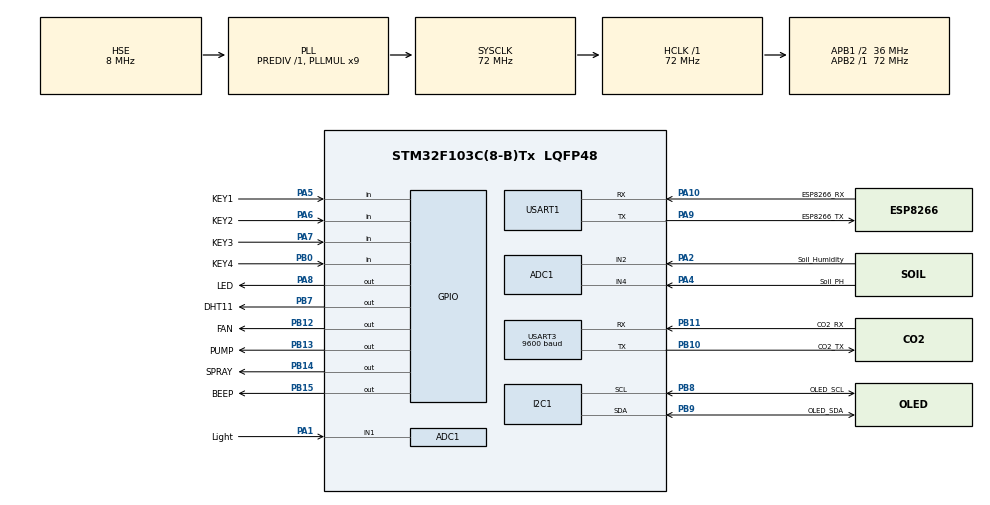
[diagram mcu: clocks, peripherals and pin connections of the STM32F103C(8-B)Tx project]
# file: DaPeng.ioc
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ADC1.Channel-3\#ChannelRegularConversion=ADC_CHANNEL_1
ADC1.ContinuousConvMode=DISABLE
ADC1.EnableRegularConversion=ENABLE
ADC1.NbrOfConversion=1
ADC1.NbrOfConversionFlag=1
ADC1.Rank-3\#ChannelRegularConversion=1
ADC1.SamplingTime-3\#ChannelRegularConversion=ADC_SAMPLETIME_55CYCLES_5
ADC1.master=1
I2C1.I2C_Mode=I2C_Fast
Mcu.Family=STM32F1
Mcu.Name=STM32F103C(8-B)Tx
Mcu.Package=LQFP48
NVIC.PriorityGroup=NVIC_PRIORITYGROUP_4
NVIC.TIM4_IRQn=true\:13\:0\:true\:false\:true\:true\:true\:true
NVIC.USART1_IRQn=true\:14\:0\:true\:false\:true\:true\:true\:true
NVIC.USART3_IRQn=true\:15\:0\:true\:false\:true\:true\:true\:true
PA1.GPIO_Label=Light
PA1.GPIO_Mode=GPIO_MODE_ANALOG
PA1.Signal=ADCx_IN1
PA10.GPIO_Label=ESP8266_RX
PA10.Mode=Asynchronous
PA10.Signal=USART1_RX
PA13.Mode=Serial_Wire
PA13.Signal=SYS_JTMS-SWDIO
PA14.Mode=Serial_Wire
PA14.Signal=SYS_JTCK-SWCLK
PA2.GPIO_Label=Soil_Humidity
PA2.Signal=ADCx_IN2
PA4.GPIO_Label=Soil_PH
PA4.Signal=ADCx_IN4
PA5.GPIO_Label=KEY1
PA5.GPIO_PuPd=GPIO_PULLUP
PA5.Signal=GPIO_Input
PA6.GPIO_Label=KEY2
PA6.GPIO_PuPd=GPIO_PULLUP
PA6.Signal=GPIO_Input
PA7.GPIO_Label=KEY3
PA7.GPIO_PuPd=GPIO_PULLUP
PA7.Signal=GPIO_Input
PA8.GPIO_Label=LED
PA8.PinState=GPIO_PIN_RESET
PA8.Signal=GPIO_Output
PA9.GPIO_Label=ESP8266_TX
PA9.Mode=Asynchronous
PA9.Signal=USART1_TX
PB0.GPIO_Label=KEY4
PB0.GPIO_PuPd=GPIO_PULLUP
PB0.Signal=GPIO_Input
PB10.GPIO_Label=CO2_TX
PB10.Mode=Asynchronous
PB10.Signal=USART3_TX
PB11.GPIO_Label=CO2_RX
PB11.Mode=Asynchronous
PB11.Signal=USART3_RX
PB12.GPIO_Label=FAN
PB12.PinState=GPIO_PIN_RESET
PB12.Signal=GPIO_Output
PB13.GPIO_Label=PUMP
PB13.Signal=GPIO_Output
PB14.GPIO_Label=SPRAY
PB14.PinState=GPIO_PIN_RESET
PB14.Signal=GPIO_Output
PB15.GPIO_Label=BEEP
PB15.PinState=GPIO_PIN_RESET
PB15.Signal=GPIO_Output
PB7.GPIO_Label=DHT11
PB7.GPIO_ModeDefaultOutputPP=GPIO_MODE_OUTPUT_OD
PB7.GPIO_PuPd=GPIO_PULLUP
PB7.GPIO_Speed=GPIO_SPEED_FREQ_HIGH
PB7.PinState=GPIO_PIN_SET
PB7.Signal=GPIO_Output
PB8.GPIO_Label=OLED_SCL
PB8.Mode=I2C
PB8.Signal=I2C1_SCL
PB9.GPIO_Label=OLED_SDA
PB9.Mode=I2C
PB9.Signal=I2C1_SDA
PD0-OSC_IN.Mode=HSE-External-Oscillator
PD0-OSC_IN.Signal=RCC_OSC_IN
PD1-OSC_OUT.Mode=HSE-External-Oscillator
PD1-OSC_OUT.Signal=RCC_OSC_OUT
ProjectManager.HeapSize=0x400
ProjectManager.StackSize=0x600
ProjectManager.TargetToolchain=MDK-ARM V5
RCC.ADCPresc=RCC_ADCPCLK2_DIV6
RCC.AHBFreq_Value=72000000
RCC.APB1CLKDivider=RCC_HCLK_DIV2
RCC.APB1Freq_Value=36000000
RCC.APB1TimFreq_Value=72000000
RCC.APB2Freq_Value=72000000
RCC.APB2TimFreq_Value=72000000
RCC.HCLKFreq_Value=72000000
RCC.PLLMUL=RCC_PLL_MUL9
RCC.PLLSourceVirtual=RCC_PLLSOURCE_HSE
RCC.SYSCLKFreq_VALUE=72000000
RCC.SYSCLKSource=RCC_SYSCLKSOURCE_PLLCLK
RCC.USBFreq_Value=72000000
SH.ADCx_IN1.0=ADC1_IN1,IN1
SH.ADCx_IN2.0=ADC1_IN2,IN2
SH.ADCx_IN4.0=ADC1_IN4,IN4
TIM4.Period=1000-1
TIM4.Prescaler=72-1
USART1.VirtualMode=VM_ASYNC
USART3.BaudRate=9600
USART3.VirtualMode=VM_ASYNC
VP_TIM4_VS_ClockSourceINT.Mode=Internal
board=custom

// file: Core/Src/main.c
/* USER CODE BEGIN Header */
/**
  ******************************************************************************
  * @file           : main.c
  * @brief          : Main program body
  ******************************************************************************
  * @attention
  *
  * Copyright (c) 2026 STMicroelectronics.
  * All rights reserved.
  *
  * This software is licensed under terms that can be found in the LICENSE file
  * in the root directory of this software component.
  * If no LICENSE file comes with this software, it is provided AS-IS.
  *
  ******************************************************************************
  */
/* USER CODE END Header */
#include "main.h"
#include "adc.h"
#include "i2c.h"
#include "tim.h"
#include "usart.h"
#include "gpio.h"

/* USER CODE BEGIN Includes */
#include "oled.h"
#include "adcx.h"
#include "Light.h"
#include "dht11.h"
#include "Soil_Humidity.h"
#include "CO2.h"
#include "ph.h"
#include "esp8266.h"
#include "onenet.h"
#include "key.h"
#include "beep.h"
#include "pump.h"
#include "led.h"
#include "fan.h"
#include "spray.h"

/* USER CODE END Includes */

/* USER CODE BEGIN PTD */
uint8_t temp,humi;              // 温湿度
uint16_t lux;                   // 光照强度 0-999
uint16_t soil_humi;             // 土壤湿度 0-100
uint16_t co2_ppm;               // CO2浓度
float soil_ph;                  // 土壤PH值 0.00-14.00

uint8_t Key_Val,Key_Down,Key_Old,Key_Up;
volatile uint8_t Key_Slow_Down;         // 按键减速处理
volatile uint16_t OLED_Slow_Down;       // OLED减速处理
volatile uint32_t cloud_time = 0;              // 云平台发送数据计时

uint8_t OLED_MENU = 0;                  // 菜单 1-主菜单 2-传感器菜单 3-阈值设置 4-设备状态
uint8_t OLED_Submenu_Sensor = 0;        // 传感器子菜单 1-温湿度 2-CO2浓度 3-光照 4-土壤湿度  5-PH值
uint8_t OLED_Submenu_Threshold = 0;       // 阈值设置子菜单
uint8_t OLED_Submenu_Device = 0;          // 设备状态子菜单

uint8_t Cursor_pos = 0;         // 光标位置

uint8_t OLED_Clear_Flag = 0;   // OLED清屏标志

volatile uint8_t WifiOK_flag = 0;        // WiFi连接成功标志
volatile uint8_t cloud_flag = 0;         // 云平台发送数据标志位

// ===== 阈值参数(初始设置值）=====
int16_t  TH_Temp      = 35;    // 温度阈值(°C)
uint8_t  TH_Humi      = 25;    // 湿度阈值(%)
uint16_t TH_CO2       = 1000;   // CO2阈值(ppm)
uint16_t TH_Lux       = 800;   // 光照阈值(lx)
uint8_t  TH_SoilHumi  = 5;    // 土壤湿度阈值(%)
uint16_t TH_SoilPH_Low_x100  = 200; // 土壤PH阈值*100 下限
uint16_t TH_SoilPH_High_x100 = 1200; // 土壤PH阈值*100 上限

// ===== 自动报警状态 =====
uint8_t ALM_Temp = 0;     // 温度报警
uint8_t ALM_Humi = 0;     // 湿度报警
uint8_t ALM_CO2 = 0;      // CO2报警
uint8_t ALM_Lux = 0;      // 光照报警
uint8_t ALM_SoilHumi = 0;   // 土壤湿度报警
uint8_t ALM_SoilPH = 0;     // 土壤PH报警

// 手动/自动控制
typedef enum
{
  CTRL_AUTO = 0,
  CTRL_MANUAL_ON,
  CTRL_MANUAL_OFF
} CtrlMode_t;

volatile ControlMode_t control_mode = CONTROL_MODE_AUTO;  // 上电默认自动控制模式

//  这里用的少了，后续删
// LED 不参与阈值联动，纯手动（默认开）
uint8_t LED_ManualState = 0;
uint8_t BEEP_ManualOn = 0;   // 1=手动强制开蜂鸣器
//  这里用的少了，后续删

//  这里用的少了，后续删
// 三个会被阈值联动的外设：自动/手动共存
CtrlMode_t FAN_CtrlMode   = CTRL_AUTO;
CtrlMode_t SPRAY_CtrlMode = CTRL_AUTO;
CtrlMode_t PUMP_CtrlMode  = CTRL_AUTO;
//  这里用的少了，后续删

// ===== 阈值子菜单编辑状态 =====
uint8_t  TH_EditMode = 0;      // 0未编辑 1编辑中
int32_t  TH_EditValue = 0;     // 当前编辑值(通用整型)

volatile uint8_t led_on_state = 0;   // LED状态标志位
volatile uint8_t beep_on_state = 0;  // 蜂鸣器状态标志位
volatile uint8_t fan_on_state = 0;   // 风扇状态标志位
volatile uint8_t spray_on_state = 0; // 水雾状态标志位
volatile uint8_t pump_on_state = 0;  // 水泵状态标志位

/* USER CODE END PTD */

/* USER CODE BEGIN PD */
#define ESP8266_ONENET_INFO		"AT+CIPSTART=\"TCP\",\"mqtts.heclouds.com\",1883\r\n"

#define SENSOR_ITEM_COUNT   5    // 传感器菜单项数
#define SENSOR_ITEM_VISIBLE 3    // 传感器菜单可见项数（超过这个数会滚动）
uint8_t Sensor_Menu_Start = 0;   // 当前窗口起始项(0~2)

#define THRESH_ITEM_COUNT   7    // 阈值菜单项数
#define THRESH_ITEM_VISIBLE 3    // 阈值菜单可见项数
uint8_t Threshold_Menu_Start = 0; // 阈值菜单当前窗口起始项

#define DEVICE_ITEM_COUNT   12    // 设备状态菜单项数
#define DEVICE_ITEM_VISIBLE 3     // 设备状态菜单可见项数
uint8_t Device_Menu_Start = 0;

/* USER CODE END PD */

void SystemClock_Config(void);

/* USER CODE BEGIN 0 */
void APPInit()
{
  HAL_TIM_Base_Start_IT(&htim4);

  OLED_Init();

  ESP8266_EN();  // 启用ESP8266串口接收（中断方式）

  HAL_ADCEx_Calibration_Start(&hadc1);  // ADC校准

  CO2_UART_StartReceive();  // 启动CO2数据接收 启动后大概要等1分钟才有数据

  Boot_ChargingUI();

  ESP8266_Init();  // 初始化ESP8266并连接WiFi

  WifiOK_flag = 1;  // WiFi连接成功标志

// printf("5. ESP8266 Init OK\r\n");
	OLED_Clear(); OLED_ShowString(0,0,(uint8_t *)"ESP8266 Init OK",16, 1); OLED_Refresh();
	HAL_Delay(500);
	// // printf("Connect MQTTs Server...\r\n");
	OLED_Clear(); OLED_ShowString(0,0,(uint8_t *)"Connect MQTTs",16, 1);OLED_Refresh();
	while(ESP8266_SendCmd(ESP8266_ONENET_INFO, "OK"))
	  HAL_Delay(500);
	//	// printf("Connect MQTT Server Success\r\n");
	OLED_ShowString(0,16,(uint8_t *)"Connect Success",16, 1); OLED_Refresh();
	HAL_Delay(500);

	OLED_ShowString(0,32,(uint8_t *)"Device login",16, 1); OLED_Refresh();
	while(OneNet_DevLink())			//接入OneNET
	{
		ESP8266_SendCmd(ESP8266_ONENET_INFO, "CONNECT");
		HAL_Delay(500);
	}
	OLED_Clear(); OLED_ShowString(0,0,(uint8_t *)"Link OK",16, 1); OLED_Refresh();

	OneNET_Subscribe();		//订阅主题
	OLED_ShowString(0,16,(uint8_t *)"Subscribe OK",16, 1); OLED_Refresh();

  HAL_Delay(2000);
  DHT11_Init();   // 上电等待2s，初始化DHT11

  DHT11_Read_Data(&temp, &humi);   // 丢弃第一次数据（可能是旧值）
  HAL_Delay(2000);
  DHT11_Read_Data(&temp, &humi);   // 第二次更接近当前

	OLED_ShowString(0,32,(uint8_t *)"System Init OK",16, 1); OLED_Refresh();

  HAL_Delay(1000);
  OLED_MENU = 1;    // 默认进入主菜单
  Cursor_pos = 0;   // 初始化光标位置
  OLED_Clear();
}

// 读取阈值然后返回
static int32_t TH_GetValueBySub(uint8_t sub)
{
  switch (sub)
  {
    case 1: return TH_Temp;
    case 2: return TH_Humi;
    case 3: return TH_CO2;
    case 4: return TH_Lux;
    case 5: return TH_SoilHumi;
    case 6: return TH_SoilPH_Low_x100;
    case 7: return TH_SoilPH_High_x100;
    default: return 0;
  }
}

// 根据子菜单编号设置对应的阈值
static void TH_SetValueBySub(uint8_t sub, int32_t v)
{
  switch (sub)
  {
    case 1: TH_Temp = (int16_t)v; break;
    case 2: TH_Humi = (uint8_t)v; break;
    case 3: TH_CO2 = (uint16_t)v; break;
    case 4: TH_Lux = (uint16_t)v; break;
    case 5: TH_SoilHumi = (uint8_t)v; break;
    case 6: TH_SoilPH_Low_x100  = (uint16_t)v; break;
    case 7: TH_SoilPH_High_x100 = (uint16_t)v; break;
    default: break;
  }

}
// 返回阈值的最小值（用于编辑时的下限）
static int32_t TH_MinBySub(uint8_t sub)
{
  switch (sub)
  {
    case 1: return 0;       // 温度
    case 2: return 0;       // 湿度
    case 3: return 300;     // CO2
    case 4: return 0;       // 光照
    case 5: return 0;       // 土壤湿度
    case 6: return 0;       // pH下限 0.00
    case 7: return 700;     // pH上限 7.00

    default:return 0;
  }
}
// 返回阈值的最大值（用于编辑时的上限）
static int32_t TH_MaxBySub(uint8_t sub)
{
  switch (sub)
  {
    case 1: return 60;      // 温度
    case 2: return 100;     // 湿度
    case 3: return 1000;    // CO2
    case 4: return 999;     // 光照
    case 5: return 100;     // 土壤湿度
    case 6: return 700;     // pH下限 7.00
    case 7: return 1400;    // pH上限 14.00
    default:return 0;
  }
}
// 设置阈值的步进值
static int32_t TH_StepBySub(uint8_t sub)
{
  if (sub == 6|| sub == 7) return 5;  // pH每次0.05
  if (sub == 3) return 50; // CO2每次50
  if (sub == 4) return 10; // 光照每次10
  return 1;
}

static void AutoControl_Task(void)
{
  uint16_t ph_x100;
  uint8_t fan_need;
  uint8_t spray_need;
  uint8_t pump_need;
  uint8_t beep_need;
  uint8_t soil_alarm_for_beep;

  if (control_mode == CONTROL_MODE_MANUAL)
  {
    return;   // 手动模式下，不覆盖手动设置的标志位
  }

  ph_x100 = (uint16_t)(soil_ph * 100.0f + 0.5f);

  ALM_Temp     = (temp > TH_Temp) ? 1 : 0;  // 温度大于设定值
  ALM_CO2      = (co2_ppm > TH_CO2) ? 1 : 0;  // CO2浓度大于设定值
  ALM_Humi     = (humi < TH_Humi) ? 1 : 0;  // 湿度小于设定值
  ALM_SoilHumi = (soil_humi < TH_SoilHumi) ? 1 : 0; // 土壤湿度小于设定值
  ALM_SoilPH   = (ph_x100 < TH_SoilPH_Low_x100 || ph_x100 > TH_SoilPH_High_x100) ? 1 : 0; // 土壤PH值超出设定范围
  ALM_Lux      = (lux > TH_Lux) ? 1 : 0;  // 光照强度大于设定值

  soil_alarm_for_beep = (PUMP_CtrlMode == CTRL_AUTO) ? (ALM_SoilHumi || ALM_SoilPH) : 0;

  fan_need   = (ALM_Temp || ALM_CO2) ? 1 : 0; // 温度或CO2报警需要开风扇
  spray_need = ALM_Humi ? 1 : 0; // 湿度报警需要开水雾
  pump_need  = (ALM_SoilHumi || ALM_SoilPH) ? 1 : 0;  // 土壤湿度或PH报警需要开水泵
  beep_need  = (ALM_Temp || ALM_CO2 || ALM_Humi || ALM_Lux || soil_alarm_for_beep) ? 1 : 0; // 报警开启BEEP

  // LED 不参与自动控制，保留当前手动状态
  fan_on_state   = fan_need;
  spray_on_state = spray_need;
  pump_on_state  = pump_need;
  beep_on_state  = beep_need;

}

void Key_Task()
{
  if(Key_Slow_Down) return;
  Key_Slow_Down = 10;

  Key_Val = Key_Read();
	Key_Down = Key_Val & (Key_Old ^ Key_Val);
	Key_Up = ~Key_Val & (Key_Old ^ Key_Val);
	Key_Old = Key_Val;

  switch(Key_Down)
  {
	  case 1:	    // 上
      if(OLED_MENU==1)  // 主菜单
      {
        if(--Cursor_pos>240) Cursor_pos=2;
      }

      if(OLED_MENU==2&&OLED_Submenu_Sensor==0)  // 传感器菜单
      {
        if(--Cursor_pos>240) Cursor_pos = SENSOR_ITEM_COUNT - 1;
      }

      if (OLED_MENU == 3)  // 阈值菜单
      {
        if(OLED_Submenu_Threshold==0)
        {
          if(--Cursor_pos > 240) Cursor_pos = THRESH_ITEM_COUNT - 1;
        }
        else if (TH_EditMode)
        {
          int32_t minv = TH_MinBySub(OLED_Submenu_Threshold);
          int32_t step = TH_StepBySub(OLED_Submenu_Threshold);
          TH_EditValue -= step;
          if (TH_EditValue < minv) TH_EditValue = minv;
        }
      }

      if (OLED_MENU == 4)
      {
        if (--Cursor_pos > 240) Cursor_pos = DEVICE_ITEM_COUNT - 1;
      }

      break;

    case 2:		  // 下
      if(OLED_MENU==1)  // 主菜单
      {
        if(++Cursor_pos==3) Cursor_pos=0;
      }

      if(OLED_MENU==2&&OLED_Submenu_Sensor==0)  // 传感器菜单
      {
        if (++Cursor_pos >= SENSOR_ITEM_COUNT) Cursor_pos = 0;
      }

      if (OLED_MENU == 3)  // 阈值菜单
      {
        if(OLED_Submenu_Threshold==0)
        {
          if (++Cursor_pos >= THRESH_ITEM_COUNT) Cursor_pos = 0;
        }
        else if (TH_EditMode)
        {
          int32_t maxv = TH_MaxBySub(OLED_Submenu_Threshold);
          int32_t step = TH_StepBySub(OLED_Submenu_Threshold);
          TH_EditValue += step;
          if (TH_EditValue > maxv) TH_EditValue = maxv;
        }
      }

      if (OLED_MENU == 4)
      {
        if (++Cursor_pos >= DEVICE_ITEM_COUNT) Cursor_pos = 0;
      }

      break;

    case 3:		  // 确认
      OLED_Clear_Flag ^= 1;  // 标记需要清屏
      if(OLED_MENU==1)  // 主菜单
      {
        switch (Cursor_pos)
        {
          case 0: // 传感器菜单
            OLED_MENU = 2; Cursor_pos = 0;Sensor_Menu_Start = 0;
            break;
          case 1: // 阈值设置
            OLED_MENU = 3; Cursor_pos = 0;Threshold_Menu_Start = 0;OLED_Submenu_Threshold=0;TH_EditMode = 0;
            break;
          case 2: // 设备状态
            OLED_MENU = 4; Cursor_pos = 0;Device_Menu_Start = 0;control_mode = CONTROL_MODE_MANUAL;   // 进入设备状态切换手动控制
            break;

          default:
            break;
        }
        return;
      }

      else if(OLED_MENU==2&&OLED_Submenu_Sensor==0)  // 传感器菜单
      {
        switch (Cursor_pos)
        {
            case 0: OLED_Submenu_Sensor = 1; break;   // 温湿度
            case 1: OLED_Submenu_Sensor = 2; break;   // CO2
            case 2: OLED_Submenu_Sensor = 3; break;   // 光照
            case 3: OLED_Submenu_Sensor = 4; break;   // 土壤湿度
            case 4: OLED_Submenu_Sensor = 5; break;   // 土壤PH
            default: break;
        }
        OLED_Clear_Flag = 1;    // 切页清屏

      }

      else if (OLED_MENU == 3)
      {
        if (OLED_Submenu_Threshold == 0)
        {
          // 从阈值列表进入某个阈值详情
          OLED_Submenu_Threshold = Cursor_pos + 1;   // 1~6
          TH_EditValue = TH_GetValueBySub(OLED_Submenu_Threshold);
          TH_EditMode = 1;                           // 进入即编辑
          OLED_Clear_Flag = 1;
        }
        else
        {
          // KEY3确认：保存并返回阈值列表
          TH_SetValueBySub(OLED_Submenu_Threshold, TH_EditValue);
          // PH阈值保护
          if (TH_SoilPH_Low_x100 >= TH_SoilPH_High_x100)
          {
            if(OLED_Submenu_Threshold == 6)
            {
              TH_SoilPH_Low_x100 = TH_SoilPH_High_x100 - 1;
            }
            else if(OLED_Submenu_Threshold == 7)
            {
              TH_SoilPH_High_x100 = TH_SoilPH_Low_x100 + 1;
            }
          }
          TH_EditMode = 0;
          OLED_Submenu_Threshold = 0;
          OLED_Clear_Flag = 1;
        }
      }

      else if (OLED_MENU == 4)
      {
          switch (Cursor_pos)
          {
            case 0: // LED
              led_on_state = !led_on_state;
              break;

            case 1: // BEEP
              beep_on_state = !beep_on_state;
              break;

            case 2: // FAN
              fan_on_state = !fan_on_state;
              break;

            case 3: // SPRAY
              spray_on_state = !spray_on_state;
              break;

            case 4: // PUMP
              pump_on_state = !pump_on_state;
              break;
            default: break;
          }

          OLED_Clear_Flag = 1; // 可选：让显示立即干净刷新
      }

      break;

    case 4:		  // 返回
      if (OLED_MENU == 2 && OLED_Submenu_Sensor != 0)
      {
          OLED_Submenu_Sensor = 0;     // 返回传感器列表
          OLED_Clear_Flag = 1;
          return;                 // 本次按键处理到此结束
      }

      //
      if (OLED_MENU == 3 && OLED_Submenu_Threshold != 0)
      {
        OLED_Submenu_Threshold = 0;OLED_Clear_Flag = 1;TH_EditMode = 0;
        return;
      }

      // 返回主菜单
      OLED_Clear_Flag ^= 1;  // 标记需要清屏

      if (OLED_MENU == 4)
      {
        control_mode = CONTROL_MODE_AUTO;   // 离开设备菜单，恢复自动控制
        OLED_MENU = 1;Cursor_pos = 0;
        //AutoControl_Task();                 // 立即按自动逻辑刷新一次
      }
      else if (OLED_MENU == 2 || OLED_MENU == 3)
      {
        OLED_MENU = 1; Cursor_pos = 0;
      }

      break;

  }
  // 菜单滚动控制
  if (OLED_MENU == 2)
  {
    if (Cursor_pos < Sensor_Menu_Start)
      Sensor_Menu_Start = Cursor_pos;
    else if (Cursor_pos >= Sensor_Menu_Start + SENSOR_ITEM_VISIBLE)
      Sensor_Menu_Start = Cursor_pos - (SENSOR_ITEM_VISIBLE - 1);
  }
  else if (OLED_MENU == 3 && OLED_Submenu_Threshold == 0)
  {
    if (Cursor_pos < Threshold_Menu_Start)
      Threshold_Menu_Start = Cursor_pos;
    else if (Cursor_pos >= Threshold_Menu_Start + THRESH_ITEM_VISIBLE)
      Threshold_Menu_Start = Cursor_pos - (THRESH_ITEM_VISIBLE - 1);
  }
  else if (OLED_MENU == 4)
  {
    if (Cursor_pos < Device_Menu_Start)
      Device_Menu_Start = Cursor_pos;
    else if (Cursor_pos >= Device_Menu_Start + DEVICE_ITEM_VISIBLE)
      Device_Menu_Start = Cursor_pos - (DEVICE_ITEM_VISIBLE - 1);
  }

}

void Oled_Task()
{
  // 菜单滑动用到的变量
	uint8_t row, idx, y, mode;

  // 设备菜单用到的变量
  uint8_t name_end_x = 0;   // 名称末尾x（用于放冒号）
  uint8_t is_on = 0;        // 判断设备状态
  uint8_t colon_x = 0;      // 冒号x坐标
  uint8_t status_x = 0;     // 状态文本x坐标

  if(OLED_Slow_Down) return;
  OLED_Slow_Down = 100;

  if(OLED_Clear_Flag)
  {
    OLED_Clear_Flag = 0;
    OLED_Clear();
  }

  switch (OLED_MENU)
  {
    case 1: // 主菜单
      OLED_ShowChinese(40, 0, 0, 16, 1);OLED_ShowChinese(56, 0, 1, 16, 1);OLED_ShowChinese(72, 0, 2, 16, 1); // 主菜单

      // 1 2 3
      OLED_ShowString(0, 16, (uint8_t*)"1.", 16, (Cursor_pos==0)?0:1);OLED_ShowString(0, 32, (uint8_t*)"2.", 16, (Cursor_pos==1)?0:1);OLED_ShowString(0, 48, (uint8_t*)"3.", 16, (Cursor_pos==2)?0:1);

      // 传感器数据
      OLED_ShowChinese(16, 16, 3, 16, (Cursor_pos==0)?0:1);OLED_ShowChinese(32, 16, 4, 16, (Cursor_pos==0)?0:1);OLED_ShowChinese(48, 16, 5, 16, (Cursor_pos==0)?0:1);OLED_ShowChinese(64, 16, 6, 16, (Cursor_pos==0)?0:1);OLED_ShowChinese(80, 16, 7 , 16, (Cursor_pos==0)?0:1);

      // 阈值设置
      OLED_ShowChinese(16, 32, 8, 16, (Cursor_pos==1)?0:1);OLED_ShowChinese(32, 32, 9, 16, (Cursor_pos==1)?0:1);OLED_ShowChinese(48, 32, 10, 16, (Cursor_pos==1)?0:1);OLED_ShowChinese(64, 32, 11, 16, (Cursor_pos==1)?0:1);

      // 设备状态
      OLED_ShowChinese(16, 48, 12, 16, (Cursor_pos==2)?0:1);OLED_ShowChinese(32, 48, 13, 16, (Cursor_pos==2)?0:1);OLED_ShowChinese(48, 48, 14, 16, (Cursor_pos==2)?0:1);OLED_ShowChinese(64, 48, 15, 16, (Cursor_pos==2)?0:1);

      break;

    case 2:     // 传感器菜单
      if (OLED_MENU == 2 && OLED_Submenu_Sensor == 0)
      {
        OLED_ShowChinese(24, 0, 3, 16, 1);OLED_ShowChinese(40, 0, 4, 16, 1);OLED_ShowChinese(56, 0, 5, 16, 1);OLED_ShowChinese(72, 0, 1, 16, 1);OLED_ShowChinese(88, 0, 2, 16, 1); // 传感器菜单
        for (row = 0; row < SENSOR_ITEM_VISIBLE; row++)
        {
          idx = Sensor_Menu_Start + row;
          if (idx >= SENSOR_ITEM_COUNT) break;

          y = 16 * (row + 1);                    // 16, 32, 48

          OLED_ShowString(0, y, (uint8_t*)"                ", 16, 1);  // 清除旧数据

          mode = (idx == Cursor_pos) ? 0 : 1;    // 选中项反色

          switch (idx)
          {
            case 0: // 温湿度
              OLED_ShowChinese(0,  y, 16, 16, mode);
              OLED_ShowChinese(16, y, 17, 16, mode);
              OLED_ShowChinese(32, y, 18, 16, mode);
              break;

            case 1: // CO2浓度
              OLED_ShowChinese(0,  y, 19, 16, mode);
              OLED_ShowChinese(16, y, 20, 16, mode);
              OLED_ShowChinese(32, y, 21, 16, mode);
              OLED_ShowChinese(48, y, 22, 16, mode);
              break;

            case 2: // 光照强度
              OLED_ShowChinese(0,  y, 23, 16, mode);
              OLED_ShowChinese(16, y, 24, 16, mode);
              OLED_ShowChinese(32, y, 25, 16, mode);
              OLED_ShowChinese(48, y, 26, 16, mode);
              break;

            case 3: // 土壤湿度
              OLED_ShowChinese(0,  y, 35, 16, mode);
              OLED_ShowChinese(16, y, 36, 16, mode);
              OLED_ShowChinese(32, y, 37, 16, mode);
              OLED_ShowChinese(48, y, 38, 16, mode);
              break;

            case 4: // 土壤PH值
              OLED_ShowChinese(0,  y, 35, 16, mode);
              OLED_ShowChinese(16, y, 36, 16, mode);
              OLED_ShowString(32, y, (uint8_t*)"PH", 16, mode);
              break;

            default:
              break;
          }
        }
      }
      else
      {
        OLED_ShowString(0, 0,  (uint8_t*)"Sensor Detail", 16, 1);
        switch (OLED_Submenu_Sensor)
        {
            case 1: // 温湿度
                OLED_ShowString(0, 16, (uint8_t*)"Temp:", 16, 1);
                OLED_ShowNum(48, 16, temp, 2, 16, 1);
                OLED_ShowString(72, 16, (uint8_t*)"C", 16, 1);

                OLED_ShowString(0, 32, (uint8_t*)"Humi:", 16, 1);
                OLED_ShowNum(48, 32, humi, 2, 16, 1);
                OLED_ShowString(72, 32, (uint8_t*)"%", 16, 1);
                break;

            case 2: // CO2
                OLED_ShowString(0, 16, (uint8_t*)"CO2:", 16, 1);
                OLED_ShowNum(40, 16, co2_ppm, 4, 16, 1);
                OLED_ShowString(80, 16, (uint8_t*)"ppm", 16, 1);
                break;

            case 3: // 光照
                OLED_ShowString(0, 16, (uint8_t*)"Light:", 16, 1);
                OLED_ShowNum(56, 16, lux, 3, 16, 1);
                OLED_ShowString(88, 16, (uint8_t*)"lx", 16, 1);
                break;

            case 4: // 土壤湿度
                OLED_ShowString(0, 16, (uint8_t*)"Soil:", 16, 1);
                OLED_ShowNum(48, 16, soil_humi, 3, 16, 1);
                OLED_ShowString(72, 16, (uint8_t*)"%", 16, 1);
                break;

            case 5: // 土壤PH
            {
                uint16_t ph_x100 = (uint16_t)(soil_ph * 100.0f + 0.5f);
                uint16_t ph_int  = ph_x100 / 100;
                uint16_t ph_frac = ph_x100 % 100;

                OLED_ShowString(0, 16, (uint8_t*)"PH:", 16, 1);
                OLED_ShowNum(32, 16, ph_int, 2, 16, 1);
                OLED_ShowChar(48, 16, '.', 16, 1);
                OLED_ShowNum(56, 16, ph_frac, 2, 16, 1);
                break;
            }

            default:
                OLED_Submenu_Sensor = 0;
                break;
        }
      }

      break;

    case 3:   // 阈值设置
      if (OLED_Submenu_Threshold == 0)
      {
        OLED_ShowChinese(32, 0, 27, 16, 1);
        OLED_ShowChinese(48, 0, 28, 16, 1);
        OLED_ShowChinese(64, 0, 29, 16, 1);
        OLED_ShowChinese(80, 0, 30, 16, 1);

        for (row = 0; row < THRESH_ITEM_VISIBLE; row++)
        {
          idx = Threshold_Menu_Start + row;
          if (idx >= THRESH_ITEM_COUNT) break;

          y = 16 * (row + 1);                 // 16,32,48
          OLED_ShowString(0, y, (uint8_t*)"                ", 16, 1);  // 清行防残影
          mode = (idx == Cursor_pos) ? 0 : 1; // 选中反色

          switch (idx)
          {
            case 0: // 温度阈值
              OLED_ShowChinese(0,  y, 16, 16, mode);
              OLED_ShowChinese(16, y, 18, 16, mode);
              OLED_ShowChinese(32, y, 27, 16, mode);
              OLED_ShowChinese(48, y, 28, 16, mode);
              break;

            case 1: // 湿度阈值
              OLED_ShowChinese(0,  y, 17, 16, mode);
              OLED_ShowChinese(16, y, 18, 16, mode);
              OLED_ShowChinese(32, y, 27, 16, mode);
              OLED_ShowChinese(48, y, 28, 16, mode);
              break;

            case 2: // CO2阈值
              OLED_ShowChinese(0,  y, 19, 16, mode);
              OLED_ShowChinese(16, y, 20, 16, mode);
              OLED_ShowChinese(32, y, 21, 16, mode);
              OLED_ShowChinese(48, y, 22, 16, mode);
              OLED_ShowChinese(64, y, 27, 16, mode);
              OLED_ShowChinese(80, y, 28, 16, mode);
              break;

            case 3: // 光照阈值
              OLED_ShowChinese(0,  y, 23, 16, mode);
              OLED_ShowChinese(16, y, 24, 16, mode);
              OLED_ShowChinese(32, y, 25, 16, mode);
              OLED_ShowChinese(48, y, 26, 16, mode);
              OLED_ShowChinese(64, y, 27, 16, mode);
              OLED_ShowChinese(80, y, 28, 16, mode);
              break;

            case 4: // 土壤湿度阈值
              OLED_ShowChinese(0,  y, 35, 16, mode);
              OLED_ShowChinese(16, y, 36, 16, mode);
              OLED_ShowChinese(32, y, 37, 16, mode);
              OLED_ShowChinese(48, y, 38, 16, mode);
              OLED_ShowChinese(64, y, 27, 16, mode);
              OLED_ShowChinese(80, y, 28, 16, mode);
              break;

            case 5: // 土壤PH阈值下限
              OLED_ShowChinese(0,  y, 35, 16, mode);
              OLED_ShowChinese(16, y, 36, 16, mode);
              OLED_ShowString(32, y, (uint8_t*)"PH", 16, mode);
              OLED_ShowChinese(48, y, 27, 16, mode);
              OLED_ShowChinese(64, y, 28, 16, mode);
              OLED_ShowString(80, y, (uint8_t*)"Low", 16, mode);

              break;
            case 6: // 土壤PH阈值上限
              OLED_ShowChinese(0,  y, 35, 16, mode);
              OLED_ShowChinese(16, y, 36, 16, mode);
              OLED_ShowString(32, y, (uint8_t*)"PH", 16, mode);
              OLED_ShowChinese(48, y, 27, 16, mode);
              OLED_ShowChinese(64, y, 28, 16, mode);
              OLED_ShowString(80, y, (uint8_t*)"High", 16, mode);
          }
        }
      }
      else
      {
        // ===== 阈值详情编辑页 =====
        OLED_ShowString(0, 0, (uint8_t*)"THRESH EDIT", 16, 1);

        // 显示项目名
        switch (OLED_Submenu_Threshold)
        {
          case 1: OLED_ShowString(0, 16, (uint8_t*)"Temp", 16, 1); break;
          case 2: OLED_ShowString(0, 16, (uint8_t*)"Humi", 16, 1); break;
          case 3: OLED_ShowString(0, 16, (uint8_t*)"CO2",  16, 1); break;
          case 4: OLED_ShowString(0, 16, (uint8_t*)"Light",16, 1); break;
          case 5: OLED_ShowString(0, 16, (uint8_t*)"SoilH",16, 1); break;
          case 6: OLED_ShowString(0, 16, (uint8_t*)"SoilPH_Low",16,1); break;
          case 7: OLED_ShowString(0, 16, (uint8_t*)"SoilPH_High",16,1); break;
          default: break;
        }

        // 当前编辑值
        OLED_ShowString(0, 32, (uint8_t*)"SET:", 16, 1);

        if (OLED_Submenu_Threshold == 6|| OLED_Submenu_Threshold == 7)  // pH值特殊显示
        {
          uint16_t v = (uint16_t)TH_EditValue;
          OLED_ShowNum(40, 32, v / 100, 2, 16, 0);   // 反色显示
          OLED_ShowChar(56, 32, '.', 16, 0);
          OLED_ShowNum(64, 32, v % 100, 2, 16, 0);
        }
        else
        {
          OLED_ShowNum(40, 32, (uint32_t)TH_EditValue, 4, 16, 0);  // 反色
        }

        // 单位
        switch (OLED_Submenu_Threshold)
        {
          case 1: OLED_ShowString(88, 32, (uint8_t*)"C",   16, 1); break;
          case 2: OLED_ShowString(88, 32, (uint8_t*)"%",   16, 1); break;
          case 3: OLED_ShowString(80, 32, (uint8_t*)"ppm", 16, 1); break;
          case 4: OLED_ShowString(88, 32, (uint8_t*)"lx",  16, 1); break;
          case 5: OLED_ShowString(88, 32, (uint8_t*)"%",   16, 1); break;
          case 6: OLED_ShowString(88, 32, (uint8_t*)"pH",  16, 1); break;
          case 7: OLED_ShowString(88, 32, (uint8_t*)"pH",  16, 1); break;
          default: break;
        }

        OLED_ShowString(0, 48, (uint8_t*)"K3:Save K4:Back", 16, 1);
      }

      break;

    case 4:   // 设备状态
      OLED_ShowChinese(32, 0, 31, 16, 1);OLED_ShowChinese(48, 0, 32, 16, 1);OLED_ShowChinese(64, 0, 33, 16, 1);OLED_ShowChinese(80, 0, 34, 16, 1);

      for (row = 0; row < DEVICE_ITEM_VISIBLE; row++)
      {
        idx = Device_Menu_Start + row;
        if (idx >= DEVICE_ITEM_COUNT) break;

        y = 16 * (row + 1);           // 16, 32, 48
        mode = (idx == Cursor_pos) ? 0 : 1;

        OLED_ShowString(0, y, (uint8_t*)"                ", 16, 1); // 清本行

        switch (idx)
        {
          case 0: // LED
            OLED_ShowString(0,  y, (uint8_t*)"LED", 16, mode);
            name_end_x = 24;   // 3*8
            is_on = Led_Status ? 1 : 0;
            break;

          case 1: // BEEP
            OLED_ShowChinese(0,  y, 41, 16, mode);
            OLED_ShowChinese(16, y, 42, 16, mode);
            OLED_ShowChinese(32, y, 43, 16, mode);
            name_end_x = 48;   // 3*16
            is_on = BEEP_Status ? 1 : 0;
            break;

          case 2: // 风扇
            OLED_ShowChinese(0,  y, 44, 16, mode);
            OLED_ShowChinese(16, y, 45, 16, mode);
            name_end_x = 32;   // 2*16
            is_on = FAN_Status ? 1 : 0;
            break;

          case 3: // 水雾
            OLED_ShowChinese(0,  y, 46, 16, mode);
            OLED_ShowChinese(16, y, 47, 16, mode);
            name_end_x = 32;
            is_on = SPRAY_Status ? 1 : 0;
            break;

          case 4: // 水泵
            OLED_ShowChinese(0,  y, 46, 16, mode);
            OLED_ShowChinese(16, y, 48, 16, mode);
            name_end_x = 32;
            is_on = PUMP_Status ? 1 : 0;
            break;

          case 5: // OLED
            OLED_ShowString(0, y, (uint8_t*)"OLED", 16, mode);
            name_end_x = 32;   // 4*8
            is_on = 1;         // 屏在亮就认为开
            break;

          case 6: // ESP8266
            OLED_ShowString(0, y, (uint8_t*)"WiFi", 16, mode);
            name_end_x = 32;   // 4*8
            is_on = (WifiOK_flag == 1) ? 1 : 0;
            break;

          case 7: // DHT11温湿度传感器
            OLED_ShowChinese(0,  y, 16, 16, mode);
            OLED_ShowChinese(16, y, 17, 16, mode);
            OLED_ShowChinese(32, y, 18, 16, mode);
            name_end_x = 48;   // 3*16
            is_on = (humi <= 100) ? 1 : 0;    // 有数据则认为正常
            break;

          case 8: // CO2传感器
            OLED_ShowChinese(0,  y, 19, 16, mode);
            OLED_ShowChinese(16, y, 20, 16, mode);
            OLED_ShowChinese(32, y, 21, 16, mode);
            OLED_ShowChinese(48, y, 22, 16, mode);
            name_end_x = 64;   // 4*16
            is_on = (co2_ppm > 0) ? 1 : 0;
            break;

          case 9: // 光照传感器
            OLED_ShowChinese(0,  y, 23, 16, mode);
            OLED_ShowChinese(16, y, 24, 16, mode);
            name_end_x = 32;   // 2*16
            is_on = (lux <= 999) ? 1 : 0;
            break;

          case 10: // 土壤湿度传感器
            OLED_ShowChinese(0,  y, 35, 16, mode);
            OLED_ShowChinese(16, y, 36, 16, mode);
            OLED_ShowChinese(32, y, 37, 16, mode);
            OLED_ShowChinese(48, y, 38, 16, mode);
            name_end_x = 64;   // 4*16
            is_on = (soil_humi <= 100) ? 1 : 0;
            break;

          case 11: // 土壤PH传感器
            OLED_ShowChinese(0,  y, 35, 16, mode);
            OLED_ShowChinese(16, y, 36, 16, mode);
            OLED_ShowString(32, y, (uint8_t*)"PH", 16, mode);
            name_end_x = 48;   // 2*16 + 2*8
            is_on = (soil_ph >= 0.0f && soil_ph <= 14.0f) ? 1 : 0;
            break;
        }

        colon_x = name_end_x;
        if (colon_x > 96) colon_x = 96;
        OLED_ShowString(colon_x, y, (uint8_t*)":", 16, mode);

        // 状态字放在冒号后
        status_x = colon_x + 8;
        if (status_x > 112) status_x = 112;
        OLED_ShowChinese(status_x, y, is_on ? 39 : 40, 16, mode); // 39开 40关
      }
      break;

    default:
      break;
  }

  OLED_Refresh();
}

void Sensor_Task()
{
  static uint32_t t_soil = 0;
  static uint32_t t_env  = 0;
  static uint32_t t_temp_humi = 0;
  uint32_t now = HAL_GetTick();

  // 1) 土壤湿度/PH：高频采样 + 高频联动（建议100ms）
  if (now - t_soil >= 100)
  {
    t_soil = now;
    soil_humi = Soil_Humidity_GetData();
    soil_ph   = PH_GetData();
    AutoControl_Task();                       // 自动控制任务
  }

  // 2) 其他环境量：中频（200~500ms）
  if (now - t_env >= 300)
  {
    t_env = now;
    lux = Light_LuxData();
    if (Usart3_RxFlag) CO2GetData(&co2_ppm);
    AutoControl_Task();                       // 自动控制任务
  }

  if (now - t_temp_humi >= 2000)
  {
    t_temp_humi = now;
    DHT11_Read_Data(&temp, &humi);
    AutoControl_Task();                       // 自动控制任务
  }

}

void OneNet_Task()
{
  unsigned char *dataPtr = NULL;

  if(cloud_flag==1)   // 2s上传一次
  {
    cloud_flag = 0;
    OneNet_SendData();
    ESP8266_Clear();
  }

  dataPtr = ESP8266_GetIPD(1);
  if (dataPtr != NULL)
  {
    OneNet_RevPro(dataPtr);
  }

}

/* USER CODE END 0 */

int main(void)
{

  /* MCU Configuration--------------------------------------------------------*/

  /* Reset of all peripherals, Initializes the Flash interface and the Systick. */
  HAL_Init();

  /* Configure the system clock */
  SystemClock_Config();

  /* Initialize all configured peripherals */
  MX_GPIO_Init();
  MX_I2C1_Init();
  MX_ADC1_Init();
  MX_USART3_UART_Init();
  MX_USART1_UART_Init();
  MX_TIM4_Init();
  /* USER CODE BEGIN 2 */
  APPInit();  // 应用层初始化

  /* USER CODE END 2 */

  /* Infinite loop */
  /* USER CODE BEGIN WHILE */

  while (1)
  {
    Key_Task();
    Sensor_Task();
	  Oled_Task();
	  OneNet_Task();

    /* USER CODE END WHILE */

  }
}

void SystemClock_Config(void)
{
  RCC_OscInitTypeDef RCC_OscInitStruct = {0};
  RCC_ClkInitTypeDef RCC_ClkInitStruct = {0};
  RCC_PeriphCLKInitTypeDef PeriphClkInit = {0};

  /** Initializes the RCC Oscillators according to the specified parameters
  * in the RCC_OscInitTypeDef structure.
  */
  RCC_OscInitStruct.OscillatorType = RCC_OSCILLATORTYPE_HSE;
  RCC_OscInitStruct.HSEState = RCC_HSE_ON;
  RCC_OscInitStruct.HSEPredivValue = RCC_HSE_PREDIV_DIV1;
  RCC_OscInitStruct.HSIState = RCC_HSI_ON;
  RCC_OscInitStruct.PLL.PLLState = RCC_PLL_ON;
  RCC_OscInitStruct.PLL.PLLSource = RCC_PLLSOURCE_HSE;
  RCC_OscInitStruct.PLL.PLLMUL = RCC_PLL_MUL9;
  if (HAL_RCC_OscConfig(&RCC_OscInitStruct) != HAL_OK)
  {
    Error_Handler();
  }

  /** Initializes the CPU, AHB and APB buses clocks
  */
  RCC_ClkInitStruct.ClockType = RCC_CLOCKTYPE_HCLK|RCC_CLOCKTYPE_SYSCLK
                              |RCC_CLOCKTYPE_PCLK1|RCC_CLOCKTYPE_PCLK2;
  RCC_ClkInitStruct.SYSCLKSource = RCC_SYSCLKSOURCE_PLLCLK;
  RCC_ClkInitStruct.AHBCLKDivider = RCC_SYSCLK_DIV1;
  RCC_ClkInitStruct.APB1CLKDivider = RCC_HCLK_DIV2;
  RCC_ClkInitStruct.APB2CLKDivider = RCC_HCLK_DIV1;

  if (HAL_RCC_ClockConfig(&RCC_ClkInitStruct, FLASH_LATENCY_2) != HAL_OK)
  {
    Error_Handler();
  }
  PeriphClkInit.PeriphClockSelection = RCC_PERIPHCLK_ADC;
  PeriphClkInit.AdcClockSelection = RCC_ADCPCLK2_DIV6;
  if (HAL_RCCEx_PeriphCLKConfig(&PeriphClkInit) != HAL_OK)
  {
    Error_Handler();
  }
}

/* USER CODE BEGIN 4 */
void HAL_TIM_PeriodElapsedCallback(TIM_HandleTypeDef *htim)
{
    if (htim->Instance == TIM4)
    {
      // 这里每 1ms 进一次
      if(Key_Slow_Down) Key_Slow_Down--;      // 按键处理
      if(OLED_Slow_Down) OLED_Slow_Down--;    // OLED处理
      if(++cloud_time==2000)
      {
        cloud_time = 0;
        cloud_flag = 1;
      }

      Led_Set(led_on_state ? LED_ON : LED_OFF);           // LED控制
      BEEP_Set(beep_on_state ? BEEP_ON : BEEP_OFF);       // 蜂鸣器控制
      FAN_Set(fan_on_state ? FAN_ON : FAN_OFF);           // 风扇控制
      SPRAY_Set(spray_on_state ? SPRAY_ON : SPRAY_OFF);   // 水雾控制
      PUMP_Set(pump_on_state ? PUMP_ON : PUMP_OFF);       // 水泵控制
    }
}

/* USER CODE END 4 */

void Error_Handler(void)
{
  __disable_irq();
  while (1)
  {
  }
}
